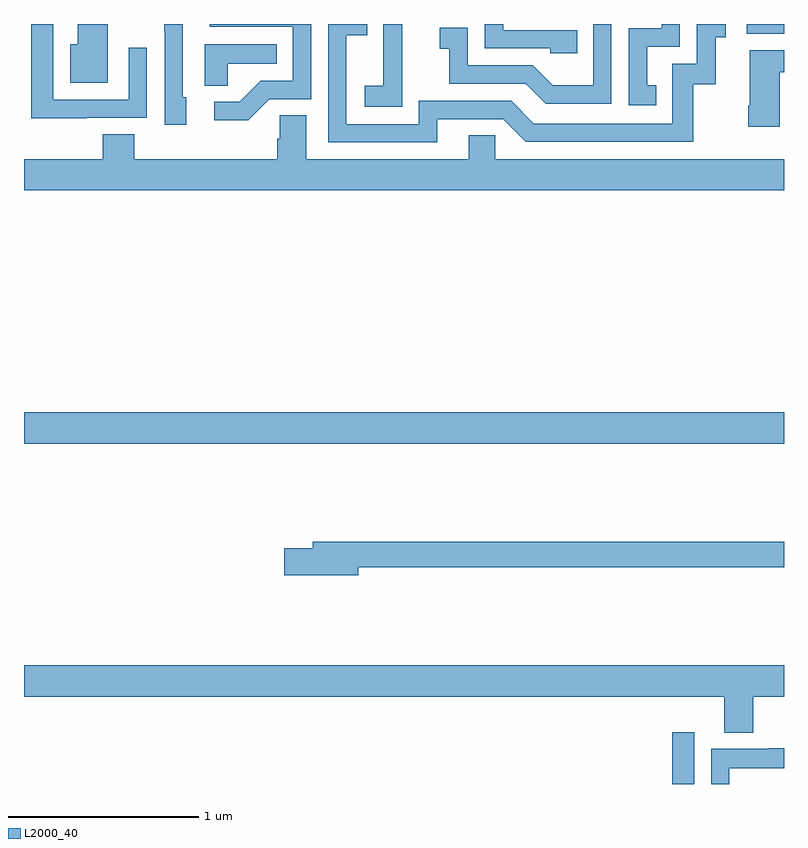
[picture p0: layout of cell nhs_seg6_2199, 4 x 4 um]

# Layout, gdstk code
import gdstk
lib = gdstk.Library(unit=1e-6, precision=1e-09)
def R(c, l, rs):  # rectangles x0, y0, x1, y1
    for r in rs: c.add(gdstk.rectangle(r[:2], r[2:], *l))
def P(c, l, *ps):  # polygons
    for p in ps: c.add(gdstk.Polygon(p, *l))
L2000_40 = (2000, 40)

nhs_seg6_2199 = lib.new_cell('nhs_seg6_2199')
R(nhs_seg6_2199, L2000_40, [(244.411,989.5,244.527,989.773), (241,991.292,245,991.456), (244.803,993.45,245,993.5)])
P(nhs_seg6_2199, L2000_40, [(242.292,993.105),(242.511,993.105),(242.511,993.5),(241.977,993.5),(241.977,993.486),(242.415,993.486),(242.415,993.201),(242.246,993.201),(242.135,993.09),(242.001,993.09),(242.001,992.993),(242.179,992.993)],
  [(241.441,993.5),(241.283,993.5),(241.283,993.394),(241.244,993.394),(241.244,993.191),(241.441,993.191)],
  [(244.092,993.5),(243.996,993.5),(243.996,993.178),(243.782,993.178),(243.678,993.282),(243.336,993.282),(243.336,993.481),(243.189,993.481),(243.189,993.371),(243.238,993.371),(243.238,993.186),(243.641,993.186),(243.746,993.081),(244.092,993.081)],
  [(244.328,993.177),(244.279,993.177),(244.279,993.381),(244.452,993.381),(244.452,993.5),(244.356,993.5),(244.356,993.477),(244.182,993.477),(244.182,993.072),(244.328,993.072)],
  [(241.331,993.006),(241.647,993.006),(241.647,993.376),(241.551,993.376),(241.551,993.102),(241.155,993.102),(241.155,993.5),(241.039,993.5),(241.039,993.005),(241.331,993.005)],
  [(243.175,993),(243.522,993),(243.642,992.88),(244.522,992.88),(244.522,993.183),(244.64,993.183),(244.64,993.429),(244.693,993.429),(244.693,993.5),(244.542,993.5),(244.542,993.291),(244.413,993.291),(244.413,992.976),(243.684,992.976),(243.564,993.096),(243.078,993.096),(243.078,992.973),(242.697,992.973),(242.697,993.442),(242.807,993.442),(242.807,993.5),(242.601,993.5),(242.601,992.877),(243.175,992.877)],
  [(241.855,993.114),(241.836,993.114),(241.836,993.5),(241.738,993.5),(241.738,993.463),(241.74,993.463),(241.74,992.97),(241.855,992.97)],
  [(243.911,993.468),(243.522,993.468),(243.522,993.5),(243.426,993.5),(243.426,993.372),(243.771,993.372),(243.771,993.345),(243.911,993.345)],
  [(242.991,993.271),(242.99,993.271),(242.99,993.5),(242.892,993.5),(242.892,993.404),(242.891,993.404),(242.891,993.175),(242.793,993.175),(242.793,993.065),(242.991,993.065)],
  [(242.073,993.29),(242.33,993.29),(242.33,993.394),(241.952,993.394),(241.952,993.175),(242.073,993.175)],
  [(244.978,993.247),(245,993.247),(245,993.361),(244.82,993.361),(244.82,993.07),(244.813,993.07),(244.813,992.958),(244.978,992.958)],
  [(245,992.788),(243.48,992.788),(243.48,992.915),(243.341,992.915),(243.341,992.788),(242.485,992.788),(242.485,993.02),(242.346,993.02),(242.346,992.897),(242.333,992.897),(242.333,992.788),(241.58,992.788),(241.58,992.921),(241.415,992.921),(241.415,992.788),(241,992.788),(241,992.624),(245,992.624)],
  [(242.758,990.64),(245,990.64),(245,990.776),(242.519,990.776),(242.519,990.74),(242.37,990.74),(242.37,990.598),(242.758,990.598)],
  [(244.838,989.96),(245,989.96),(245,990.124),(241,990.124),(241,989.96),(244.685,989.96),(244.685,989.771),(244.838,989.771)],
  [(244.713,989.582),(245,989.582),(245,989.689),(244.921,989.689),(244.921,989.686),(244.617,989.686),(244.617,989.5),(244.713,989.5)])

lib.write_gds('nhs_seg6_2199.gds')
